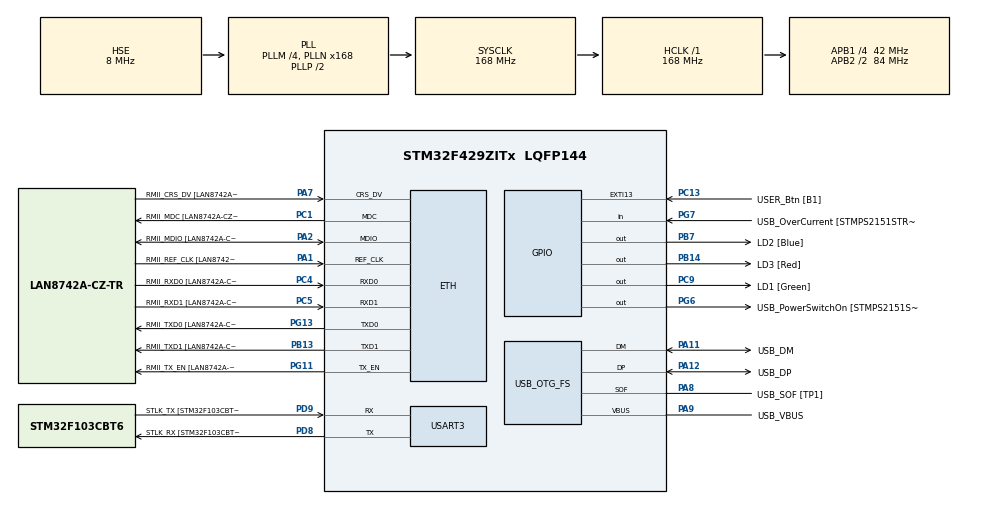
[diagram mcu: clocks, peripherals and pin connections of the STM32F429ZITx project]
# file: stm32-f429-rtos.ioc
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ETH.MediaInterface=ETH_MEDIA_INTERFACE_RMII
ETH.PHY_Name=LAN8742A_PHY_ADDRESS
ETH.PHY_Value=0
ETH.PhyAddress=0
FREERTOS.Tasks01=pingTask,0,19000,pingTaskFunction,Default,NULL,Dynamic,NULL,NULL;pongTask,-3,2500,pongTaskFunction,Default,NULL,Dynamic,NULL,NULL
FREERTOS.configTOTAL_HEAP_SIZE=118000
Mcu.Family=STM32F4
Mcu.Name=STM32F429ZITx
Mcu.Package=LQFP144
NVIC.PriorityGroup=NVIC_PRIORITYGROUP_4
NVIC.TIM1_UP_TIM10_IRQn=true\:0\:0\:false\:false\:true\:false\:false
NVIC.TimeBase=TIM1_UP_TIM10_IRQn
NVIC.TimeBaseIP=TIM1
PA0/WKUP.Mode=SYS_WakeUp0
PA0/WKUP.Signal=SYS_WKUP
PA1.GPIO_Label=RMII_REF_CLK [LAN8742A-CZ-TR_REFCLK0]
PA1.Mode=RMII
PA1.Signal=ETH_REF_CLK
PA10.GPIO_Label=USB_ID
PA10.Signal=USB_OTG_FS_ID
PA11.GPIO_Label=USB_DM
PA11.Mode=Device_Only
PA11.Signal=USB_OTG_FS_DM
PA12.GPIO_Label=USB_DP
PA12.Mode=Device_Only
PA12.Signal=USB_OTG_FS_DP
PA13.GPIO_Label=TMS
PA13.Mode=Serial_Wire
PA13.Signal=SYS_JTMS-SWDIO
PA14.GPIO_Label=TCK
PA14.Mode=Serial_Wire
PA14.Signal=SYS_JTCK-SWCLK
PA2.GPIO_Label=RMII_MDIO [LAN8742A-CZ-TR_MDIO]
PA2.Mode=RMII
PA2.Signal=ETH_MDIO
PA7.GPIO_Label=RMII_CRS_DV [LAN8742A-CZ-TR_CRS_DV]
PA7.Mode=RMII
PA7.Signal=ETH_CRS_DV
PA8.GPIO_Label=USB_SOF [TP1]
PA8.Mode=Activate_SOF_FS
PA8.Signal=USB_OTG_FS_SOF
PA9.GPIO_Label=USB_VBUS
PA9.Mode=Activate_VBUS
PA9.Signal=USB_OTG_FS_VBUS
PB13.GPIO_Label=RMII_TXD1 [LAN8742A-CZ-TR_TXD1]
PB13.Mode=RMII
PB13.Signal=ETH_TXD1
PB14.GPIO_Label=LD3 [Red]
PB14.Signal=GPIO_Output
PB7.GPIO_Label=LD2 [Blue]
PB7.Signal=GPIO_Output
PC1.GPIO_Label=RMII_MDC [LAN8742A-CZ-TR_MDC]
PC1.Mode=RMII
PC1.Signal=ETH_MDC
PC13.GPIO_Label=USER_Btn [B1]
PC13.Signal=GPXTI13
PC14/OSC32_IN.Mode=LSE-External-Oscillator
PC14/OSC32_IN.Signal=RCC_OSC32_IN
PC15/OSC32_OUT.Mode=LSE-External-Oscillator
PC15/OSC32_OUT.Signal=RCC_OSC32_OUT
PC4.GPIO_Label=RMII_RXD0 [LAN8742A-CZ-TR_RXD0]
PC4.Mode=RMII
PC4.Signal=ETH_RXD0
PC5.GPIO_Label=RMII_RXD1 [LAN8742A-CZ-TR_RXD1]
PC5.Mode=RMII
PC5.Signal=ETH_RXD1
PC9.GPIO_Label=LD1 [Green]
PC9.Signal=GPIO_Output
PD8.GPIO_Label=STLK_RX [STM32F103CBT6_PA3]
PD8.Mode=Asynchronous
PD8.Signal=USART3_TX
PD9.GPIO_Label=STLK_TX [STM32F103CBT6_PA2]
PD9.Mode=Asynchronous
PD9.Signal=USART3_RX
PG11.GPIO_Label=RMII_TX_EN [LAN8742A-CZ-TR_TXEN]
PG11.Mode=RMII
PG11.Signal=ETH_TX_EN
PG13.GPIO_Label=RMII_TXD0 [LAN8742A-CZ-TR_TXD0]
PG13.Mode=RMII
PG13.Signal=ETH_TXD0
PG6.GPIO_Label=USB_PowerSwitchOn [STMPS2151STR_EN]
PG6.Signal=GPIO_Output
PG7.GPIO_Label=USB_OverCurrent [STMPS2151STR_FAULT]
PG7.Signal=GPIO_Input
PH0/OSC_IN.GPIO_Label=MCO [STM32F103CBT6_PA8]
PH0/OSC_IN.Mode=HSE-External-Clock-Source
PH0/OSC_IN.Signal=RCC_OSC_IN
PH1/OSC_OUT.Mode=HSE-External-Clock-Source
PH1/OSC_OUT.Signal=RCC_OSC_OUT
ProjectManager.HeapSize=0x200
ProjectManager.StackSize=0x400
ProjectManager.TargetToolchain=SW4STM32
RCC.48MHZClocksFreq_Value=48000000
RCC.AHBFreq_Value=168000000
RCC.APB1CLKDivider=RCC_HCLK_DIV4
RCC.APB1Freq_Value=42000000
RCC.APB1TimFreq_Value=84000000
RCC.APB2CLKDivider=RCC_HCLK_DIV2
RCC.APB2Freq_Value=84000000
RCC.APB2TimCLKDivider=2
RCC.APB2TimFreq_Value=168000000
RCC.CortexFreq_Value=168000000
RCC.HCLKFreq_Value=168000000
RCC.HSE_VALUE=8000000
RCC.HSI_VALUE=16000000
RCC.PLLM=4
RCC.PLLMUL=RCC_PLL_MUL9
RCC.PLLN=168
RCC.PLLQ=7
RCC.PRESCALERUSB=RCC_USBCLKSOURCE_PLL_DIV1_5
RCC.SYSCLKFreq_VALUE=168000000
RCC.SYSCLKSource=RCC_SYSCLKSOURCE_PLLCLK
RCC.SYSCLKSourceVirtual=RCC_SYSCLKSOURCE_PLLCLK
RCC.USBFreq_Value=48000000
RCC.VCOOutputFreq_Value=336000000
USART3.VirtualMode=VM_ASYNC
USB_OTG_FS.VirtualMode=Device_Only
VP_FREERTOS_VS_ENABLE.Mode=Enabled
VP_SYS_VS_tim1.Mode=TIM1
board=NUCLEO-F429ZI

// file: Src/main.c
/* USER CODE BEGIN Header */
/**
  ******************************************************************************
  * @file           : main.c
  * @brief          : Main program body
  ******************************************************************************
  ** This notice applies to any and all portions of this file
  * that are not between comment pairs USER CODE BEGIN and
  * USER CODE END. Other portions of this file, whether
  * inserted by the user or by software development tools
  * are owned by their respective copyright owners.
  *
  * COPYRIGHT(c) 2019 STMicroelectronics
  *
  * Redistribution and use in source and binary forms, with or without modification,
  * are permitted provided that the following conditions are met:
  *   1. Redistributions of source code must retain the above copyright notice,
  *      this list of conditions and the following disclaimer.
  *   2. Redistributions in binary form must reproduce the above copyright notice,
  *      this list of conditions and the following disclaimer in the documentation
  *      and/or other materials provided with the distribution.
  *   3. Neither the name of STMicroelectronics nor the names of its contributors
  *      may be used to endorse or promote products derived from this software
  *      without specific prior written permission.
  *
  * THIS SOFTWARE IS PROVIDED BY THE COPYRIGHT HOLDERS AND CONTRIBUTORS "AS IS"
  * AND ANY EXPRESS OR IMPLIED WARRANTIES, INCLUDING, BUT NOT LIMITED TO, THE
  * IMPLIED WARRANTIES OF MERCHANTABILITY AND FITNESS FOR A PARTICULAR PURPOSE ARE
  * DISCLAIMED. IN NO EVENT SHALL THE COPYRIGHT HOLDER OR CONTRIBUTORS BE LIABLE
  * FOR ANY DIRECT, INDIRECT, INCIDENTAL, SPECIAL, EXEMPLARY, OR CONSEQUENTIAL
  * DAMAGES (INCLUDING, BUT NOT LIMITED TO, PROCUREMENT OF SUBSTITUTE GOODS OR
  * SERVICES; LOSS OF USE, DATA, OR PROFITS; OR BUSINESS INTERRUPTION) HOWEVER
  * CAUSED AND ON ANY THEORY OF LIABILITY, WHETHER IN CONTRACT, STRICT LIABILITY,
  * OR TORT (INCLUDING NEGLIGENCE OR OTHERWISE) ARISING IN ANY WAY OUT OF THE USE
  * OF THIS SOFTWARE, EVEN IF ADVISED OF THE POSSIBILITY OF SUCH DAMAGE.
  *
  ******************************************************************************
  */
/* USER CODE END Header */

#include "main.h"
#include "cmsis_os.h"

/* USER CODE BEGIN Includes */
#include <all.h>

/* USER CODE END Includes */

ETH_HandleTypeDef heth;

UART_HandleTypeDef huart3;

PCD_HandleTypeDef hpcd_USB_OTG_FS;

osThreadId pingTaskHandle;
osThreadId pongTaskHandle;

void SystemClock_Config(void);
static void MX_GPIO_Init(void);
static void MX_ETH_Init(void);
static void MX_USART3_UART_Init(void);
static void MX_USB_OTG_FS_PCD_Init(void);
void pingTaskFunction(void const * argument);
void pongTaskFunction(void const * argument);

/* USER CODE BEGIN 0 */
#define LED_DELAY 400

#define RED_LED_PIN LD3_Pin
#define RED_BANK LD3_GPIO_Port

#define BLUE_LED_PIN LD2_Pin
#define BLUE_BANK LD2_GPIO_Port

void blink(GPIO_TypeDef * bank, uint16_t pin, int16_t count, int16_t delay){
    for(int16_t i = 0; i < count; i++) {
        HAL_GPIO_WritePin(bank, pin, GPIO_PIN_SET);
        HAL_Delay(delay);
        HAL_GPIO_WritePin(bank, pin, GPIO_PIN_RESET);
        HAL_Delay(delay);
    }
}

void blinkOnRedDelay(int16_t count, int16_t delay) { blink(RED_BANK, RED_LED_PIN, count, delay); }
void blinkOnRed(int16_t count) { blinkOnRedDelay(count, LED_DELAY); }

void blinkOnBlueDelay(int16_t count, int16_t delay) { blink(BLUE_BANK, BLUE_LED_PIN, count, delay); }
void blinkOnBlue(int16_t count) { blinkOnBlueDelay(count, LED_DELAY); }

StackFrame dummy;
int16_t seed = 1;

/* USER CODE END 0 */

int main(void)
{

  /* MCU Configuration--------------------------------------------------------*/

  /* Reset of all peripherals, Initializes the Flash interface and the Systick. */
  HAL_Init();

  /* Configure the system clock */
  SystemClock_Config();

  /* Initialize all configured peripherals */
  MX_GPIO_Init();
  MX_ETH_Init();
  MX_USART3_UART_Init();
  MX_USB_OTG_FS_PCD_Init();

  /* Create the thread(s) */
  /* definition and creation of pingTask */
  osThreadDef(pingTask, pingTaskFunction, osPriorityNormal, 0, 19000);
  pingTaskHandle = osThreadCreate(osThread(pingTask), NULL);

  /* definition and creation of pongTask */
  osThreadDef(pongTask, pongTaskFunction, osPriorityIdle, 0, 2500);
  pongTaskHandle = osThreadCreate(osThread(pongTask), NULL);

  /* USER CODE BEGIN RTOS_THREADS */

  // Reserved 118,000 bytes for RTOS.  If slang library is not included then
  // that can be around 196,000 bytes.  The slang init methods require the
  // most stack space so moved both of those to the ping task and then
  // played with its stack size until it fit which is around
  // 19,000 (19,000 * 4 = 76,112 bytes).
  // The pong's task which only calls the slang compute method only
  // requires 2500 * 4 = 10,000 bytes so there's 31,152 bytes left

  /* add threads, ... */
  if(pingTaskHandle == NULL || pongTaskHandle == NULL) {
      // task creation failure
      blinkOnRedDelay(10, 50);
      exit(-1);
  }
  /* USER CODE END RTOS_THREADS */

  /* Start scheduler */
  osKernelStart();

  /* We should never get here as control is now taken by the scheduler */

  /* Infinite loop */
  while (1)
  {

  }
}

void SystemClock_Config(void)
{
  RCC_OscInitTypeDef RCC_OscInitStruct = {0};
  RCC_ClkInitTypeDef RCC_ClkInitStruct = {0};

  /**Configure the main internal regulator output voltage
  */
  __HAL_RCC_PWR_CLK_ENABLE();
  __HAL_PWR_VOLTAGESCALING_CONFIG(PWR_REGULATOR_VOLTAGE_SCALE1);
  /**Initializes the CPU, AHB and APB busses clocks
  */
  RCC_OscInitStruct.OscillatorType = RCC_OSCILLATORTYPE_HSE;
  RCC_OscInitStruct.HSEState = RCC_HSE_BYPASS;
  RCC_OscInitStruct.PLL.PLLState = RCC_PLL_ON;
  RCC_OscInitStruct.PLL.PLLSource = RCC_PLLSOURCE_HSE;
  RCC_OscInitStruct.PLL.PLLM = 4;
  RCC_OscInitStruct.PLL.PLLN = 168;
  RCC_OscInitStruct.PLL.PLLP = RCC_PLLP_DIV2;
  RCC_OscInitStruct.PLL.PLLQ = 7;
  if (HAL_RCC_OscConfig(&RCC_OscInitStruct) != HAL_OK)
  {
    Error_Handler();
  }
  /**Initializes the CPU, AHB and APB busses clocks
  */
  RCC_ClkInitStruct.ClockType = RCC_CLOCKTYPE_HCLK|RCC_CLOCKTYPE_SYSCLK
                              |RCC_CLOCKTYPE_PCLK1|RCC_CLOCKTYPE_PCLK2;
  RCC_ClkInitStruct.SYSCLKSource = RCC_SYSCLKSOURCE_PLLCLK;
  RCC_ClkInitStruct.AHBCLKDivider = RCC_SYSCLK_DIV1;
  RCC_ClkInitStruct.APB1CLKDivider = RCC_HCLK_DIV4;
  RCC_ClkInitStruct.APB2CLKDivider = RCC_HCLK_DIV2;

  if (HAL_RCC_ClockConfig(&RCC_ClkInitStruct, FLASH_LATENCY_5) != HAL_OK)
  {
    Error_Handler();
  }
}

static void MX_ETH_Init(void)
{

   uint8_t MACAddr[6] ;

  heth.Instance = ETH;
  heth.Init.AutoNegotiation = ETH_AUTONEGOTIATION_ENABLE;
  heth.Init.PhyAddress = LAN8742A_PHY_ADDRESS;
  MACAddr[0] = 0x00;
  MACAddr[1] = 0x80;
  MACAddr[2] = 0xE1;
  MACAddr[3] = 0x00;
  MACAddr[4] = 0x00;
  MACAddr[5] = 0x00;
  heth.Init.MACAddr = &MACAddr[0];
  heth.Init.RxMode = ETH_RXPOLLING_MODE;
  heth.Init.ChecksumMode = ETH_CHECKSUM_BY_HARDWARE;
  heth.Init.MediaInterface = ETH_MEDIA_INTERFACE_RMII;

  if (HAL_ETH_Init(&heth) != HAL_OK)
  {
    Error_Handler();
  }

}

static void MX_USART3_UART_Init(void)
{

  huart3.Instance = USART3;
  huart3.Init.BaudRate = 115200;
  huart3.Init.WordLength = UART_WORDLENGTH_8B;
  huart3.Init.StopBits = UART_STOPBITS_1;
  huart3.Init.Parity = UART_PARITY_NONE;
  huart3.Init.Mode = UART_MODE_TX_RX;
  huart3.Init.HwFlowCtl = UART_HWCONTROL_NONE;
  huart3.Init.OverSampling = UART_OVERSAMPLING_16;
  if (HAL_UART_Init(&huart3) != HAL_OK)
  {
    Error_Handler();
  }

}

static void MX_USB_OTG_FS_PCD_Init(void)
{

  hpcd_USB_OTG_FS.Instance = USB_OTG_FS;
  hpcd_USB_OTG_FS.Init.dev_endpoints = 4;
  hpcd_USB_OTG_FS.Init.speed = PCD_SPEED_FULL;
  hpcd_USB_OTG_FS.Init.dma_enable = DISABLE;
  hpcd_USB_OTG_FS.Init.ep0_mps = DEP0CTL_MPS_64;
  hpcd_USB_OTG_FS.Init.phy_itface = PCD_PHY_EMBEDDED;
  hpcd_USB_OTG_FS.Init.Sof_enable = ENABLE;
  hpcd_USB_OTG_FS.Init.low_power_enable = DISABLE;
  hpcd_USB_OTG_FS.Init.lpm_enable = DISABLE;
  hpcd_USB_OTG_FS.Init.vbus_sensing_enable = ENABLE;
  hpcd_USB_OTG_FS.Init.use_dedicated_ep1 = DISABLE;
  if (HAL_PCD_Init(&hpcd_USB_OTG_FS) != HAL_OK)
  {
    Error_Handler();
  }

}

static void MX_GPIO_Init(void)
{
  GPIO_InitTypeDef GPIO_InitStruct = {0};

  /* GPIO Ports Clock Enable */
  __HAL_RCC_GPIOC_CLK_ENABLE();
  __HAL_RCC_GPIOH_CLK_ENABLE();
  __HAL_RCC_GPIOA_CLK_ENABLE();
  __HAL_RCC_GPIOB_CLK_ENABLE();
  __HAL_RCC_GPIOD_CLK_ENABLE();
  __HAL_RCC_GPIOG_CLK_ENABLE();

  /*Configure GPIO pin Output Level */
  HAL_GPIO_WritePin(GPIOB, LD3_Pin|LD2_Pin, GPIO_PIN_RESET);

  /*Configure GPIO pin Output Level */
  HAL_GPIO_WritePin(USB_PowerSwitchOn_GPIO_Port, USB_PowerSwitchOn_Pin, GPIO_PIN_RESET);

  /*Configure GPIO pin Output Level */
  HAL_GPIO_WritePin(LD1_GPIO_Port, LD1_Pin, GPIO_PIN_RESET);

  /*Configure GPIO pin : USER_Btn_Pin */
  GPIO_InitStruct.Pin = USER_Btn_Pin;
  GPIO_InitStruct.Mode = GPIO_MODE_IT_RISING;
  GPIO_InitStruct.Pull = GPIO_NOPULL;
  HAL_GPIO_Init(USER_Btn_GPIO_Port, &GPIO_InitStruct);

  /*Configure GPIO pins : LD3_Pin LD2_Pin */
  GPIO_InitStruct.Pin = LD3_Pin|LD2_Pin;
  GPIO_InitStruct.Mode = GPIO_MODE_OUTPUT_PP;
  GPIO_InitStruct.Pull = GPIO_NOPULL;
  GPIO_InitStruct.Speed = GPIO_SPEED_FREQ_LOW;
  HAL_GPIO_Init(GPIOB, &GPIO_InitStruct);

  /*Configure GPIO pin : USB_PowerSwitchOn_Pin */
  GPIO_InitStruct.Pin = USB_PowerSwitchOn_Pin;
  GPIO_InitStruct.Mode = GPIO_MODE_OUTPUT_PP;
  GPIO_InitStruct.Pull = GPIO_NOPULL;
  GPIO_InitStruct.Speed = GPIO_SPEED_FREQ_LOW;
  HAL_GPIO_Init(USB_PowerSwitchOn_GPIO_Port, &GPIO_InitStruct);

  /*Configure GPIO pin : USB_OverCurrent_Pin */
  GPIO_InitStruct.Pin = USB_OverCurrent_Pin;
  GPIO_InitStruct.Mode = GPIO_MODE_INPUT;
  GPIO_InitStruct.Pull = GPIO_NOPULL;
  HAL_GPIO_Init(USB_OverCurrent_GPIO_Port, &GPIO_InitStruct);

  /*Configure GPIO pin : LD1_Pin */
  GPIO_InitStruct.Pin = LD1_Pin;
  GPIO_InitStruct.Mode = GPIO_MODE_OUTPUT_PP;
  GPIO_InitStruct.Pull = GPIO_NOPULL;
  GPIO_InitStruct.Speed = GPIO_SPEED_FREQ_LOW;
  HAL_GPIO_Init(LD1_GPIO_Port, &GPIO_InitStruct);

}

/* USER CODE BEGIN 4 */
//StackFrame dummy;
/* USER CODE END 4 */

void pingTaskFunction(void const * argument)
{

  /* USER CODE BEGIN 5 */

  blinkOnRedDelay(5, 100);

    // init Ping
    proj_Ping_i_App_initialize(dummy, seed);

    proj_Pong_i_App_initialize(dummy, seed);

    // call Ping's initialize entrypoint -- sends 0 to Pong
    art_Bridge_EntryPoints_initialise_(dummy, proj_Ping_i_App_entryPoints(dummy));

    /* Infinite loop */
  for(;;)
  {
    proj_Ping_i_App_compute(dummy);

    osDelay(1);
  }
  /* USER CODE END 5 */
}

void pongTaskFunction(void const * argument)
{
  /* USER CODE BEGIN pongTaskFunction */

  blinkOnBlueDelay(5, 100);

  // init Pong
  //proj_Pong_i_App_initialize(dummy, seed);

    /* Infinite loop */
  for(;;)
  {
    proj_Pong_i_App_compute(dummy);

    osDelay(1);
  }
  /* USER CODE END pongTaskFunction */
}

void HAL_TIM_PeriodElapsedCallback(TIM_HandleTypeDef *htim)
{
  if (htim->Instance == TIM1) {
    HAL_IncTick();
  }
}

void Error_Handler(void)
{
}

/************************ (C) COPYRIGHT STMicroelectronics *****END OF FILE****/
